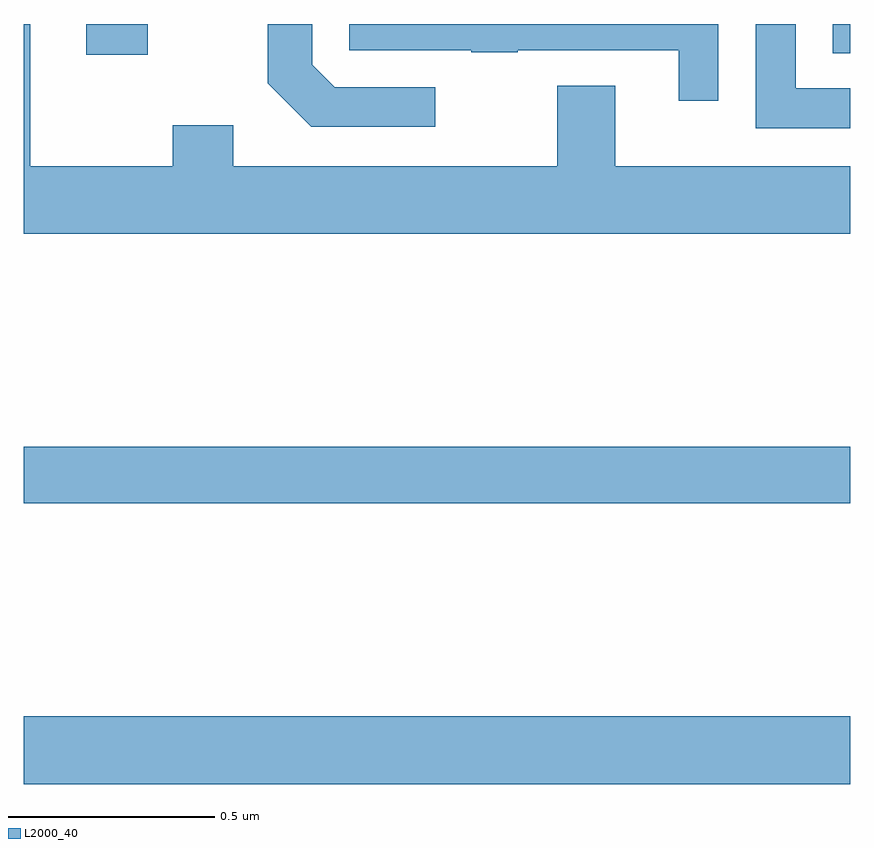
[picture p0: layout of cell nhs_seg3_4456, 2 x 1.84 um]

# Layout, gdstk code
import gdstk
lib = gdstk.Library(unit=1e-6, precision=1e-09)
def R(c, l, rs):  # rectangles x0, y0, x1, y1
    for r in rs: c.add(gdstk.rectangle(r[:2], r[2:], *l))
def P(c, l, *ps):  # polygons
    for p in ps: c.add(gdstk.Polygon(p, *l))
L2000_40 = (2000, 40)

nhs_seg3_4456 = lib.new_cell('nhs_seg3_4456')
R(nhs_seg3_4456, L2000_40, [(166,723.56,168,723.724), (166,724.24,168,724.376), (166.151,725.325,166.3,725.4), (167.958,725.329,168,725.4)])
P(nhs_seg3_4456, L2000_40, [(168,725.056),(167.431,725.056),(167.431,725.251),(167.291,725.251),(167.291,725.056),(166.507,725.056),(166.507,725.155),(166.36,725.155),(166.36,725.056),(166.015,725.056),(166.015,725.4),(166,725.4),(166,724.892),(168,724.892)],
  [(167.681,725.4),(166.788,725.4),(166.788,725.337),(167.083,725.337),(167.083,725.332),(167.195,725.332),(167.195,725.337),(167.585,725.337),(167.585,725.214),(167.681,725.214)],
  [(166.996,725.247),(166.752,725.247),(166.698,725.301),(166.698,725.4),(166.59,725.4),(166.59,725.257),(166.695,725.151),(166.996,725.151)],
  [(168,725.244),(167.868,725.244),(167.868,725.4),(167.772,725.4),(167.772,725.148),(168,725.148)])

lib.write_gds('nhs_seg3_4456.gds')
